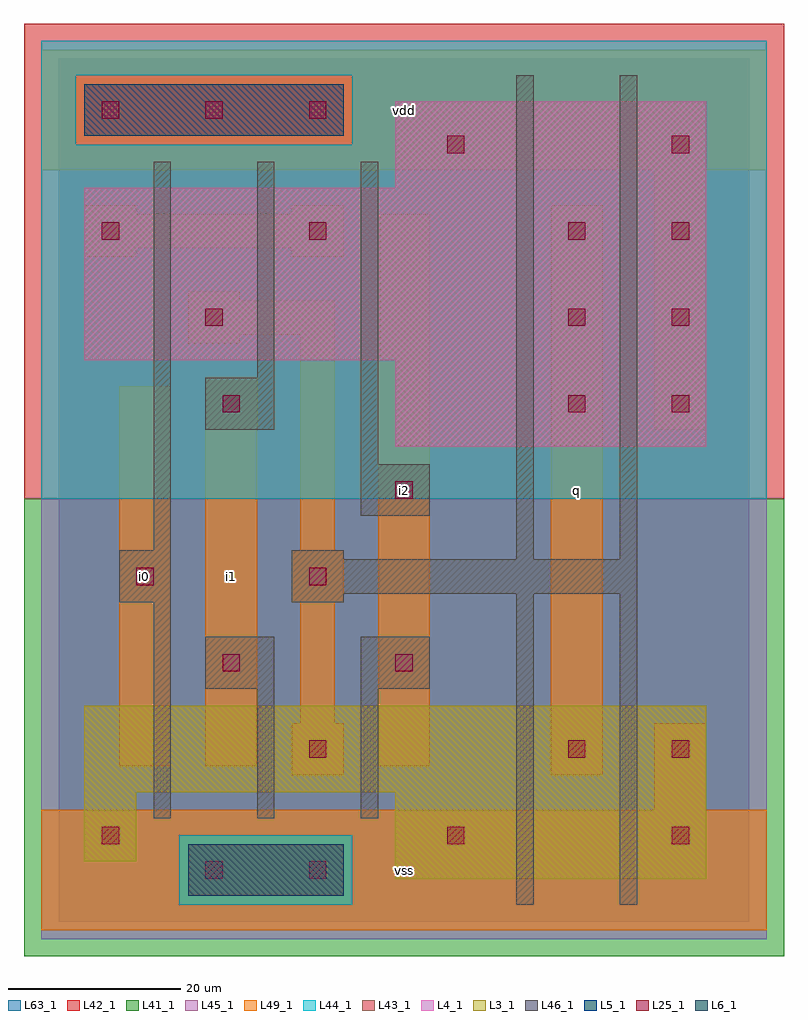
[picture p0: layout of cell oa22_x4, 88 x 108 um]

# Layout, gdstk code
import gdstk
lib = gdstk.Library(unit=1e-6, precision=1e-09)
def R(c, l, rs):  # rectangles x0, y0, x1, y1
    for r in rs: c.add(gdstk.rectangle(r[:2], r[2:], *l))
def A(c, l, x, y, w, h, nx, ny, dx, dy):  # array of equal rectangles
    R(c, l, [(x+i*dx, y+j*dy, x+i*dx+w, y+j*dy+h) for i in range(nx) for j in range(ny)])
L3_1 = (3, 1)
L4_1 = (4, 1)
L5_1 = (5, 1)
L6_1 = (6, 1)
L25_1 = (25, 1)
L41_1 = (41, 1)
L42_1 = (42, 1)
L43_1 = (43, 1)
L44_1 = (44, 1)
L45_1 = (45, 1)
L46_1 = (46, 1)
L49_1 = (49, 1)
L63_1 = (63, 1)

oa22_x4 = lib.new_cell('oa22_x4')
R(oa22_x4, L3_1, [(39,5,75,15), (3,7,9,15), (3,15,75,25)])
R(oa22_x4, L4_1, [(39,55,75,65), (3,65,75,85), (39,85,75,95)])
R(oa22_x4, L5_1, [(3,91,33,97)])
R(oa22_x4, L6_1, [(15,3,33,9)])
A(oa22_x4, L25_1, 59, 59, 2, 2, 1, 3, 0, 10)
A(oa22_x4, L25_1, 71, 59, 2, 2, 1, 4, 0, 10)
A(oa22_x4, L25_1, 5, 93, 2, 2, 3, 1, 12, 0)
R(oa22_x4, L25_1, [(17,5,19,7), (29,5,31,7), (5,9,7,11), (45,9,47,11), (71,9,73,11), (29,19,31,21), (59,19,61,21), (71,19,73,21), (19,29,21,31), (39,29,41,31), (9,39,11,41), (29,39,31,41), (39,49,41,51), (19,59,21,61), (17,69,19,71), (5,79,7,81), (29,79,31,81), (45,89,47,91)])
R(oa22_x4, L41_1, [(-4,-4,84,49)])
R(oa22_x4, L42_1, [(-4,49,84,104)])
R(oa22_x4, L43_1, [(15,3,33,9), (39,5,75,15), (3,7,9,15), (3,15,75,25), (39,55,75,65), (3,65,75,85), (39,85,75,95), (3,91,33,97)])
R(oa22_x4, L44_1, [(14,2,34,10), (-2,49,82,90), (-2,90,2,98), (34,90,82,98), (-2,98,82,102)])
R(oa22_x4, L45_1, [(-2,-2,82,2), (-2,2,14,10), (34,2,82,10), (-2,10,82,49), (2,90,34,98)])
R(oa22_x4, L46_1, [(53,2,55,38), (65,2,67,38), (11,12,13,37), (23,12,25,27), (35,12,37,27), (17,27,25,33), (35,27,43,33), (7,37,13,43), (27,37,33,38), (27,38,67,42), (27,42,33,43), (53,42,55,98), (65,42,67,98), (11,43,13,88), (35,47,43,53), (35,53,37,88), (17,57,25,63), (23,63,25,88)])
R(oa22_x4, L49_1, [(-2,-1,82,13), (69,13,75,23), (27,17,33,23), (57,17,63,83), (7,18,13,62), (17,18,23,63), (37,18,43,82), (28,23,32,37), (27,37,33,43), (28,43,32,68), (69,57,75,87), (15,67,21,68), (15,68,32,72), (15,72,21,73), (3,77,9,78), (27,77,33,78), (3,78,33,82), (3,82,9,83), (27,82,33,83), (-2,87,82,101)])
R(oa22_x4, L63_1, [(0,0,80,100)])
oa22_x4.add(gdstk.Label('i0', (10,40), layer=49, texttype=1))
oa22_x4.add(gdstk.Label('i0', (10,40), layer=49, texttype=1))
oa22_x4.add(gdstk.Label('i1', (20,40), layer=49, texttype=1))
oa22_x4.add(gdstk.Label('i1', (20,40), layer=49, texttype=1))
oa22_x4.add(gdstk.Label('vss', (40,6), layer=49, texttype=1))
oa22_x4.add(gdstk.Label('vss', (40,6), layer=49, texttype=1))
oa22_x4.add(gdstk.Label('q', (60,50), layer=49, texttype=1))
oa22_x4.add(gdstk.Label('q', (60,50), layer=49, texttype=1))
oa22_x4.add(gdstk.Label('i2', (40,50), layer=49, texttype=1))
oa22_x4.add(gdstk.Label('i2', (40,50), layer=49, texttype=1))
oa22_x4.add(gdstk.Label('vdd', (40,94), layer=49, texttype=1))
oa22_x4.add(gdstk.Label('vdd', (40,94), layer=49, texttype=1))

lib.write_gds('oa22_x4.gds')
